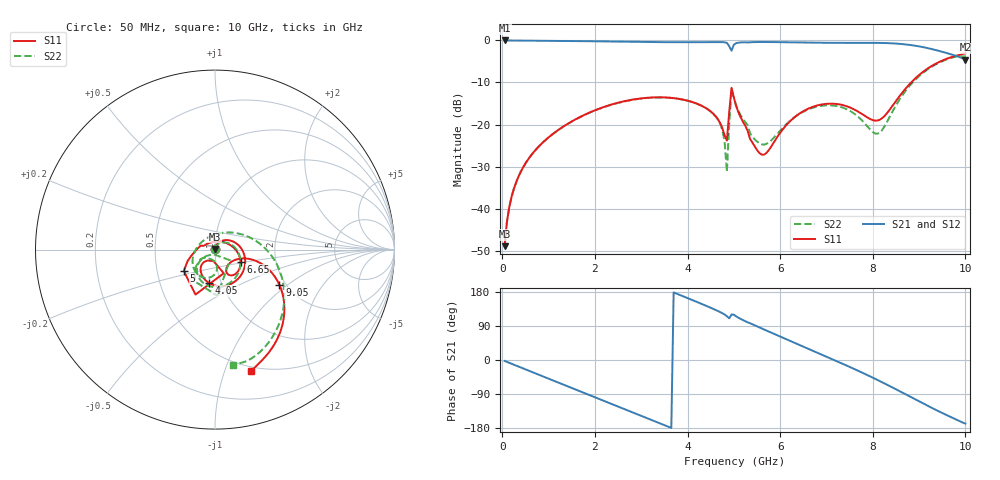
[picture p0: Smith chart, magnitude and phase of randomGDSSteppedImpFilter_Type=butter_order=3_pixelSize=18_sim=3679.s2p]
! freq	dB(S11)	phase(S11)	dB(S12)	phase(S12)
!  dB(S21)	phase(S21)	dB(S22)	phase(S22)
!S-par simulation data
#  GHz  S  DB  R 50
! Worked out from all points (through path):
!   200 points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, 50 MHz to 10 GHz, reference 50 ohm
!   highest |S21| = -0.01 dB at 50 MHz (marker M1); lowest = -4.6 dB at 10 GHz (marker M2)
!   group delay of S21, straight-line fit = 145 ps
!   lowest |S11| = -48.9 dB at 50 MHz (marker M3), VSWR 1.01, Z = 50.1 + j0.355 ohm
!   |S11| at or under -10 dB: start of sweep to 8.828 GHz
!   |S22| runs from -48.9 to -3.8 dB; largest |S21 - S12| = 0
!   S11 on the Smith chart (normalised r, x): 50 MHz: 1.00, +0.01; 4.05 GHz: 0.88, -0.34; 5 GHz: 0.69, -0.17; 6.65 GHz: 1.32, -0.19; 9.05 GHz: 1.85, -0.87; 10 GHz: 0.46, -1.24
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0.05  -48.91 80.9  -0.01 -2.5  -0.01 -2.5  -48.89 80.1
0.2  -37.20 78.8  -0.02 -9.9  -0.02 -9.9  -37.18 76.0
0.5  -29.24 68.0  -0.04 -24.7  -0.04 -24.7  -29.25 61.0
1.75  -17.82 13.4  -0.17 -86.2  -0.17 -86.2  -17.87 -4.9
2.5  -14.80 -22.4  -0.29 -123.0  -0.29 -123.0  -14.86 -42.5
3.4  -13.52 -66.6  -0.41 -167.0  -0.41 -167.0  -13.56 -85.3
4.05  -14.46 -99.8  -0.42 160.9  -0.42 160.9  -14.47 -114.9
4.7  -19.54 -132.0  -0.39 126.7  -0.39 126.7  -19.69 -143.0
4.8  -22.57 -124.9  -0.44 120.0  -0.44 120.0  -23.97 -144.4
4.85  -23.79 -97.3  -0.59 115.6  -0.59 115.6  -31.26 -114.9
4.95  -11.27 -113.5  -2.46 120.0  -2.46 120.0  -11.82 -87.2
5  -13.53 -145.6  -1.03 119.5  -1.03 119.5  -13.56 -121.7
5.05  -15.63 -157.4  -0.65 115.1  -0.65 115.1  -15.43 -132.9
5.65  -27.17 92.0  -0.38 80.7  -0.38 80.7  -24.76 -110.8
6.65  -16.01 -26.0  -0.52 27.4  -0.52 27.4  -16.21 -98.6
6.7  -15.80 -28.7  -0.53 24.7  -0.53 24.7  -16.02 -100.8
7.55  -16.14 -62.3  -0.58 -21.0  -0.58 -21.0  -17.03 -152.9
8.05  -19.06 -46.5  -0.58 -49.6  -0.58 -49.6  -22.11 129.3
8.35  -16.69 -20.3  -0.65 -67.8  -0.65 -67.8  -18.47 53.6
9.05  -7.76 -28.7  -1.52 -112.3  -1.52 -112.3  -8.02 -21.4
9.5  -4.79 -50.1  -2.70 -139.9  -2.70 -139.9  -4.94 -53.2
10  -3.05 -73.3  -4.59 -167.6  -4.59 -167.6  -3.75 -80.9
